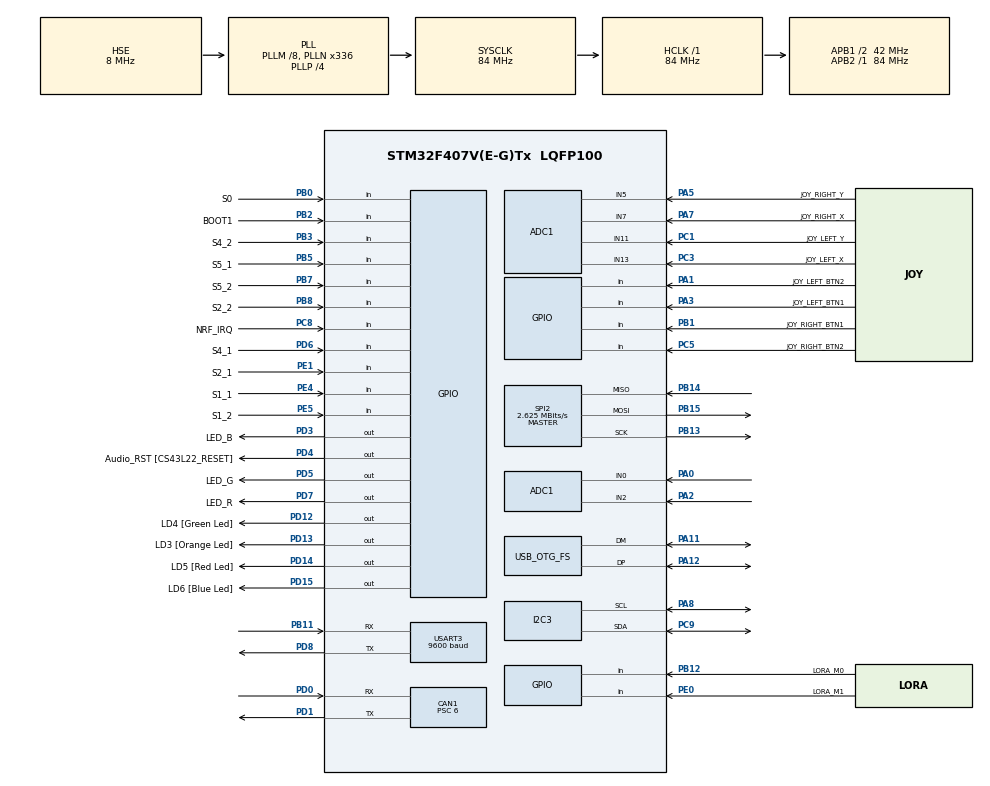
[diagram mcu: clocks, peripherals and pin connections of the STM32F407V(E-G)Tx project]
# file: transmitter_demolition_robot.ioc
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ADC1.Channel-0\#ChannelRegularConversion=ADC_CHANNEL_11
ADC1.Channel-1\#ChannelRegularConversion=ADC_CHANNEL_13
ADC1.Channel-2\#ChannelRegularConversion=ADC_CHANNEL_5
ADC1.Channel-3\#ChannelRegularConversion=ADC_CHANNEL_7
ADC1.Channel-4\#ChannelRegularConversion=ADC_CHANNEL_0
ADC1.Channel-5\#ChannelRegularConversion=ADC_CHANNEL_2
ADC1.ClockPrescaler=ADC_CLOCK_SYNC_PCLK_DIV4
ADC1.ContinuousConvMode=ENABLE
ADC1.DMAContinuousRequests=ENABLE
ADC1.DiscontinuousConvMode=DISABLE
ADC1.NbrOfConversion=6
ADC1.NbrOfConversionFlag=1
ADC1.Rank-0\#ChannelRegularConversion=1
ADC1.Rank-1\#ChannelRegularConversion=2
ADC1.Rank-2\#ChannelRegularConversion=3
ADC1.Rank-3\#ChannelRegularConversion=4
ADC1.Rank-4\#ChannelRegularConversion=5
ADC1.Rank-5\#ChannelRegularConversion=6
ADC1.SamplingTime-0\#ChannelRegularConversion=ADC_SAMPLETIME_84CYCLES
ADC1.SamplingTime-1\#ChannelRegularConversion=ADC_SAMPLETIME_84CYCLES
ADC1.SamplingTime-2\#ChannelRegularConversion=ADC_SAMPLETIME_84CYCLES
ADC1.SamplingTime-3\#ChannelRegularConversion=ADC_SAMPLETIME_84CYCLES
ADC1.SamplingTime-4\#ChannelRegularConversion=ADC_SAMPLETIME_84CYCLES
ADC1.SamplingTime-5\#ChannelRegularConversion=ADC_SAMPLETIME_84CYCLES
ADC1.ScanConvMode=ENABLE
ADC1.master=1
CAN1.BS1=CAN_BS1_11TQ
CAN1.BS2=CAN_BS2_2TQ
CAN1.CalculateBaudRate=500000
CAN1.CalculateTimeBit=2000
CAN1.CalculateTimeQuantum=142.85714285714286
CAN1.Prescaler=6
Dma.ADC1.0.Direction=DMA_PERIPH_TO_MEMORY
Dma.ADC1.0.FIFOMode=DMA_FIFOMODE_DISABLE
Dma.ADC1.0.Instance=DMA2_Stream0
Dma.ADC1.0.MemDataAlignment=DMA_MDATAALIGN_HALFWORD
Dma.ADC1.0.MemInc=DMA_MINC_ENABLE
Dma.ADC1.0.Mode=DMA_CIRCULAR
Dma.ADC1.0.PeriphDataAlignment=DMA_PDATAALIGN_HALFWORD
Dma.ADC1.0.PeriphInc=DMA_PINC_DISABLE
Dma.ADC1.0.Priority=DMA_PRIORITY_LOW
Dma.Request0=ADC1
I2C3.I2C_Mode=I2C_Fast
Mcu.Family=STM32F4
Mcu.Name=STM32F407V(E-G)Tx
Mcu.Package=LQFP100
NVIC.CAN1_RX0_IRQn=true\:0\:0\:false\:false\:true\:true\:true\:true
NVIC.CAN1_TX_IRQn=true\:0\:0\:false\:false\:true\:true\:true\:true
NVIC.DMA2_Stream0_IRQn=true\:0\:0\:false\:false\:true\:false\:true\:true
NVIC.OTG_FS_IRQn=true\:0\:0\:false\:false\:true\:false\:true\:true
NVIC.PriorityGroup=NVIC_PRIORITYGROUP_0
NVIC.USART3_IRQn=true\:0\:0\:false\:false\:true\:true\:true\:true
PA0-WKUP.Signal=ADCx_IN0
PA1.GPIO_Label=JOY_LEFT_BTN2
PA1.Signal=GPIO_Input
PA10.GPIO_Label=OTG_FS_ID
PA10.GPIO_Mode=GPIO_MODE_AF_PP
PA10.GPIO_PuPd=GPIO_NOPULL
PA10.GPIO_Speed=GPIO_SPEED_FREQ_LOW
PA10.Signal=USB_OTG_FS_ID
PA11.Mode=Device_Only
PA11.Signal=USB_OTG_FS_DM
PA12.Mode=Device_Only
PA12.Signal=USB_OTG_FS_DP
PA13.GPIO_Label=SWDIO
PA13.Signal=SYS_JTMS-SWDIO
PA14.GPIO_Label=SWCLK
PA14.Signal=SYS_JTCK-SWCLK
PA2.Signal=ADCx_IN2
PA3.GPIO_Label=JOY_LEFT_BTN1
PA3.Signal=GPIO_Input
PA4.GPIO_Label=I2S3_WS [CS43L22_LRCK]
PA4.GPIO_Mode=GPIO_MODE_AF_PP
PA4.GPIO_PuPd=GPIO_NOPULL
PA4.GPIO_Speed=GPIO_SPEED_FREQ_LOW
PA4.Signal=I2S3_WS
PA5.GPIO_Label=JOY_RIGHT_Y
PA5.Signal=ADCx_IN5
PA6.GPIO_Label=SPI1_MISO [LIS302DL_SDO]
PA6.GPIO_Mode=GPIO_MODE_AF_PP
PA6.GPIO_PuPd=GPIO_NOPULL
PA6.GPIO_Speed=GPIO_SPEED_FREQ_LOW
PA6.Signal=SPI1_MISO
PA7.GPIO_Label=JOY_RIGHT_X
PA7.Signal=ADCx_IN7
PA8.Mode=I2C
PA8.Signal=I2C3_SCL
PA9.GPIO_Label=VBUS_FS
PA9.GPIO_Mode=GPIO_MODE_INPUT
PA9.GPIO_PuPd=GPIO_NOPULL
PA9.Signal=USB_OTG_FS_VBUS
PB1.GPIO_Label=JOY_RIGHT_BTN1
PB1.Signal=GPIO_Input
PB10.GPIO_Label=CLK_IN [MP45DT02_CLK]
PB10.GPIO_Mode=GPIO_MODE_AF_PP
PB10.GPIO_PuPd=GPIO_NOPULL
PB10.GPIO_Speed=GPIO_SPEED_FREQ_LOW
PB10.Signal=I2S2_CK
PB11.Mode=Asynchronous
PB11.Signal=USART3_RX
PB12.GPIO_Label=LORA_M0
PB12.Signal=GPIO_Input
PB13.Mode=Full_Duplex_Master
PB13.Signal=SPI2_SCK
PB14.Mode=Full_Duplex_Master
PB14.Signal=SPI2_MISO
PB15.Mode=Full_Duplex_Master
PB15.Signal=SPI2_MOSI
PB2.GPIO_Label=BOOT1
PB2.GPIO_Mode=GPIO_MODE_INPUT
PB2.GPIO_PuPd=GPIO_NOPULL
PB2.Signal=GPIO_Input
PB3.GPIO_Label=S4_2
PB3.Signal=GPIO_Input
PB5.GPIO_Label=S5_1
PB5.Signal=GPIO_Input
PB6.GPIO_Label=Audio_SCL [CS43L22_SCL]
PB6.GPIO_Mode=GPIO_MODE_AF_OD
PB6.GPIO_PuPd=GPIO_NOPULL
PB6.GPIO_Speed=GPIO_SPEED_FREQ_LOW
PB6.Signal=I2C1_SCL
PB7.GPIO_Label=S5_2
PB7.Signal=GPIO_Input
PB8.GPIO_Label=S2_2
PB8.Signal=GPIO_Input
PB0.GPIO_Label=S0
PB0.Signal=GPIO_Input
PC1.GPIO_Label=JOY_LEFT_Y
PC1.Signal=ADCx_IN11
PC10.GPIO_Label=I2S3_SCK [CS43L22_SCLK]
PC10.GPIO_Mode=GPIO_MODE_AF_PP
PC10.GPIO_PuPd=GPIO_NOPULL
PC10.GPIO_Speed=GPIO_SPEED_FREQ_LOW
PC10.Signal=I2S3_CK
PC12.GPIO_Label=I2S3_SD [CS43L22_SDIN]
PC12.GPIO_Mode=GPIO_MODE_AF_PP
PC12.GPIO_PuPd=GPIO_NOPULL
PC12.GPIO_Speed=GPIO_SPEED_FREQ_LOW
PC12.Signal=I2S3_SD
PC14-OSC32_IN.GPIO_Label=PC14-OSC32_IN
PC14-OSC32_IN.Signal=RCC_OSC32_IN
PC15-OSC32_OUT.GPIO_Label=PC15-OSC32_OUT
PC15-OSC32_OUT.Signal=RCC_OSC32_OUT
PC3.GPIO_Label=JOY_LEFT_X
PC3.Signal=ADCx_IN13
PC5.GPIO_Label=JOY_RIGHT_BTN2
PC5.Signal=GPIO_Input
PC7.GPIO_Label=I2S3_MCK [CS43L22_MCLK]
PC7.GPIO_Mode=GPIO_MODE_AF_PP
PC7.GPIO_PuPd=GPIO_NOPULL
PC7.GPIO_Speed=GPIO_SPEED_FREQ_LOW
PC7.Signal=I2S3_MCK
PC8.GPIO_Label=NRF_IRQ
PC8.Signal=GPIO_Input
PC9.Mode=I2C
PC9.Signal=I2C3_SDA
PD0.Mode=CAN_Activate
PD0.Signal=CAN1_RX
PD1.Mode=CAN_Activate
PD1.Signal=CAN1_TX
PD12.GPIO_Label=LD4 [Green Led]
PD12.GPIO_PuPd=GPIO_NOPULL
PD12.GPIO_Speed=GPIO_SPEED_FREQ_LOW
PD12.Signal=GPIO_Output
PD13.GPIO_Label=LD3 [Orange Led]
PD13.GPIO_PuPd=GPIO_NOPULL
PD13.GPIO_Speed=GPIO_SPEED_FREQ_LOW
PD13.Signal=GPIO_Output
PD14.GPIO_Label=LD5 [Red Led]
PD14.GPIO_PuPd=GPIO_NOPULL
PD14.GPIO_Speed=GPIO_SPEED_FREQ_LOW
PD14.Signal=GPIO_Output
PD15.GPIO_Label=LD6 [Blue Led]
PD15.GPIO_PuPd=GPIO_NOPULL
PD15.GPIO_Speed=GPIO_SPEED_FREQ_LOW
PD15.Signal=GPIO_Output
PD3.GPIO_Label=LED_B
PD3.Signal=GPIO_Output
PD4.GPIO_Label=Audio_RST [CS43L22_RESET]
PD4.GPIO_PuPd=GPIO_NOPULL
PD4.GPIO_Speed=GPIO_SPEED_FREQ_LOW
PD4.Signal=GPIO_Output
PD5.GPIO_Label=LED_G
PD5.Signal=GPIO_Output
PD6.GPIO_Label=S4_1
PD6.Signal=GPIO_Input
PD7.GPIO_Label=LED_R
PD7.Signal=GPIO_Output
PD8.Mode=Asynchronous
PD8.Signal=USART3_TX
PE0.GPIO_Label=LORA_M1
PE0.Signal=GPIO_Input
PE1.GPIO_Label=S2_1
PE1.Signal=GPIO_Input
PE4.GPIO_Label=S1_1
PE4.Signal=GPIO_Input
PE5.GPIO_Label=S1_2
PE5.Signal=GPIO_Input
PH0-OSC_IN.GPIO_Label=PH0-OSC_IN
PH0-OSC_IN.Mode=HSE-External-Oscillator
PH0-OSC_IN.Signal=RCC_OSC_IN
PH1-OSC_OUT.GPIO_Label=PH1-OSC_OUT
PH1-OSC_OUT.Mode=HSE-External-Oscillator
PH1-OSC_OUT.Signal=RCC_OSC_OUT
ProjectManager.HeapSize=0x200
ProjectManager.StackSize=0x400
ProjectManager.TargetToolchain=STM32CubeIDE
RCC.48MHZClocksFreq_Value=48000000
RCC.AHBFreq_Value=84000000
RCC.APB1CLKDivider=RCC_HCLK_DIV2
RCC.APB1Freq_Value=42000000
RCC.APB1TimFreq_Value=84000000
RCC.APB2CLKDivider=RCC_HCLK_DIV1
RCC.APB2Freq_Value=84000000
RCC.APB2TimFreq_Value=84000000
RCC.CortexFreq_Value=84000000
RCC.HCLKFreq_Value=84000000
RCC.HSE_VALUE=8000000
RCC.HSI_VALUE=16000000
RCC.LSE_VALUE=32768
RCC.PLLM=8
RCC.PLLN=336
RCC.PLLP=RCC_PLLP_DIV4
RCC.PLLQ=7
RCC.SYSCLKFreq_VALUE=84000000
RCC.SYSCLKSource=RCC_SYSCLKSOURCE_PLLCLK
RCC.VCOOutputFreq_Value=336000000
SH.ADCx_IN0.0=ADC1_IN0,IN0
SH.ADCx_IN11.0=ADC1_IN11,IN11
SH.ADCx_IN13.0=ADC1_IN13,IN13
SH.ADCx_IN2.0=ADC1_IN2,IN2
SH.ADCx_IN5.0=ADC1_IN5,IN5
SH.ADCx_IN7.0=ADC1_IN7,IN7
SPI2.BaudRatePrescaler=SPI_BAUDRATEPRESCALER_16
SPI2.CalculateBaudRate=2.625 MBits/s
SPI2.Direction=SPI_DIRECTION_2LINES
SPI2.Mode=SPI_MODE_MASTER
SPI2.VirtualType=VM_MASTER
USART3.BaudRate=9600
USART3.VirtualMode=VM_ASYNC
USB_DEVICE.CLASS_NAME_FS=CDC
USB_DEVICE.VirtualMode-CDC_FS=Cdc
USB_DEVICE.VirtualModeFS=Cdc_FS
USB_OTG_FS.VirtualMode=Device_Only
VP_USB_DEVICE_VS_USB_DEVICE_CDC_FS.Mode=CDC_FS
board=STM32F407G-DISC1

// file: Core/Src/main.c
/* USER CODE BEGIN Header */
/**
  ******************************************************************************
  * @file           : main.c
  * @brief          : Main program body
  ******************************************************************************
  * @attention
  *
  * Copyright (c) 2026 STMicroelectronics.
  * All rights reserved.
  *
  * This software is licensed under terms that can be found in the LICENSE file
  * in the root directory of this software component.
  * If no LICENSE file comes with this software, it is provided AS-IS.
  *
  ******************************************************************************
  */
/* USER CODE END Header */
#include "main.h"
#include "adc.h"
#include "can.h"
#include "dma.h"
#include "i2c.h"
#include "spi.h"
#include "usart.h"
#include "usb_device.h"
#include "gpio.h"
#include "ctrl_can.h"

/* USER CODE BEGIN Includes */
// Custom modules
#include "var.h"
#include "joystick.h"
#include "switch.h"
#include "nrf24.h"
#include "oled.h"
#include "usb_device.h"
#include "usbd_cdc_if.h"
#include "debug.h"
#include <stdio.h>
#include <string.h>
/* USER CODE END Includes */

/* USER CODE BEGIN PV */
extern I2C_HandleTypeDef hi2c3;  // I2C3 for OLED (PA8=SCL, PC9=SDA)
/* USER CODE END PV */

void SystemClock_Config(void);
/* USER CODE BEGIN PFP */
void Debug_Print(const char* msg);
void Debug_Printf(const char* format, ...);
/* USER CODE END PFP */

/* USER CODE BEGIN 0 */
volatile uint8_t s0_emergency_flag = 0;  // Set by EXTI0 ISR when S0 = 0
volatile uint8_t clock_source_is_hsi = 0;  // 1 if HSE failed and HSI fallback is active

/* Independent watchdog lewat register langsung (modul HAL IWDG tidak aktif).
 * LSI/32 = ~1 kHz, jadi nilai reload kira-kira sama dengan timeout dalam ms.
 *
 * Transmitter yang hang memang berakhir aman lewat timeout 500 ms di control
 * board - TAPI hanya kalau hang-nya berhenti mengirim. Hang SETELAH paket bagus
 * terkirim dengan stik terdefleksi hanya tertangkap oleh timer robot, dan
 * operator tidak punya cara memulihkan remote selain cabut daya. Reset jauh
 * lebih baik: boot masuk SLEEP dengan motor_active = 0.
 *
 * ponytail: 800 ms disamakan dengan control board. Blocking terpanjang di loop
 * ini adalah blit OLED ~23 ms, jadi marginnya besar.
 */
#define IWDG_TIMEOUT_MS 800u

static void Failsafe_IWDG_Start(void)
{
    /* Bekukan IWDG saat core dihentikan debugger, kalau tidak tiap breakpoint
     * berakhir dengan watchdog reset. Tidak berefek di lapangan. */
    DBGMCU->APB1FZ |= DBGMCU_APB1_FZ_DBG_IWDG_STOP;

    IWDG->KR  = 0x5555u;                      /* buka akses PR/RLR */
    IWDG->PR  = 3u;                           /* LSI / 32 -> ~1 kHz */
    IWDG->RLR = (IWDG_TIMEOUT_MS > 4095u) ? 4095u : IWDG_TIMEOUT_MS;
    IWDG->KR  = 0xAAAAu;                      /* muat nilai reload */
    IWDG->KR  = 0xCCCCu;                      /* start watchdog    */
}

static inline void Failsafe_IWDG_Refresh(void)
{
    IWDG->KR = 0xAAAAu;
}
/* USER CODE END 0 */

int main(void)
{

  /* MCU Configuration--------------------------------------------------------*/

  /* Reset of all peripherals, Initializes the Flash interface and the Systick. */
  HAL_Init();

  /* Configure the system clock */
  SystemClock_Config();

  /* Initialize all configured peripherals */
  MX_GPIO_Init();
  MX_DMA_Init();
  MX_ADC1_Init();
  MX_CAN1_Init();
  MX_I2C3_Init();
  MX_SPI2_Init();
  MX_USART3_UART_Init();
  MX_USB_DEVICE_Init();
  /* USER CODE BEGIN 2 */

  // Re-configure switch pins with internal pull-down (survives CubeMX regeneration)
  MX_GPIO_ConfigureSwitchPullDown();

  // CAN filter + start. Harmless with no transceiver attached: without a
  // heartbeat the transmitter simply stays on the radio.
  CtrlCAN_Init();

  // Read initial S0 state (EXTI only triggers on edges, need initial state)
  if (HAL_GPIO_ReadPin(S0_GPIO_Port, S0_Pin) == GPIO_PIN_RESET)
  {
      s0_emergency_flag = 1;
  }

  // Wait for USB CDC to be ready
  HAL_Delay(2000);

  // Debug: Send startup message
  Debug_Printf("\r\n=== Transmitter Demolition Robot (NRF24 + Discovery) ===\r\n");
  HAL_Delay(10);
  if (clock_source_is_hsi)
  {
      Debug_Printf("System Clock: 84 MHz (HSI fallback - HSE failed)\r\n\r\n");
  }
  else
  {
      Debug_Printf("System Clock: 84 MHz (HSE), USB CDC Ready\r\n\r\n");
  }
  HAL_Delay(10);

  // Debug counter for periodic status output
  uint16_t debug_counter = 0;
  #define DEBUG_INTERVAL 200  // Print debug every 200 cycles (~1s at fast loop)

  // TX diagnostics`
  uint32_t tx_ok_count = 0;
  uint32_t tx_fail_count = 0;
  uint32_t tx_not_ready = 0;

  // SLEEP mode
  uint8_t sleep_mode_active = 1;  // Start in SLEEP mode for safety!
  uint8_t sleep_transition_steps = 0;
  uint8_t safety_check_passed = 0;
  uint8_t last_s1_1_state = 0;
  uint8_t s1_1_hold_counter = 0;
  uint8_t s1_2_hold_counter = 0;
  uint8_t calibration_done = 0;
  uint8_t s2_1_hold_counter = 0;
  uint8_t last_s0_state = 1;  // Track S0 state to detect S0 transitions (0→1)

  // Transport: 0 = NRF24 radio, 1 = wired CAN (cable plugged in)
  uint8_t can_mode = 0;
  uint32_t last_can_tx_ms = 0;

  // Waktu terakhir sebuah paket benar-benar terkirim (ACK diterima di mode
  // radio, mailbox menerima di mode CAN). Dipakai untuk menyelaraskan
  // tampilan dengan keadaan robot - lihat LINK_LOST_MS di bawah.
  uint32_t last_tx_ok_ms = HAL_GetTick();
  #define LINK_LOST_MS 1000u  // > COMM_TIMEOUT_MS (500) milik control board
  uint8_t link_was_up = 1;   // untuk mendeteksi TEPI link hidup -> mati

  #define SLEEP_TRANSITION_SPEED 10  // 10 steps transition
  // Hold counter dihitung per TICK WAKTU, bukan per iterasi loop.
  //
  // Dulu ketiganya dinaikkan sekali per iterasi while(1) dengan komentar
  // "~20 cycles = ~0.1 second". Loop ini free-running: periodenya berayun dari
  // beberapa mikrodetik (radio tidak ready, cabang TX tidak mengerjakan apa-apa)
  // sampai ~25 ms (saat OLED redraw, blit 1025 byte I2C blocking). Jadi 20
  // iterasi bisa selesai di bawah 1 ms - satu bounce kontak pada S2_1 langsung
  // meng-arm motor - atau makan 0,5 detik. Tidak pernah 0,1 detik.
  //
  // 20 langkah x 5 ms = 100 ms, sesuai maksud angka aslinya, dan sekarang
  // benar-benar 100 ms berapa pun kecepatan loop. Nilai 20 dipertahankan
  // karena OLED memakai counter ini sebagai progress bar.
  #define HOLD_TICK_MS 5u
  #define S1_1_HOLD_REQUIRED 20      // 20 x 5 ms = 100 ms hold (exit SLEEP)
  #define S1_2_HOLD_REQUIRED 20      // 20 x 5 ms = 100 ms hold (calibration)
  #define S2_1_HOLD_REQUIRED 20      // 20 x 5 ms = 100 ms hold (start MOTOR)

  uint32_t s1_1_hold_tick = 0;       // stempel waktu kenaikan terakhir
  uint32_t s1_2_hold_tick = 0;
  uint32_t s2_1_hold_tick = 0;

  // Motor starter variables
  uint8_t motor_active = 0;        // Motor starter state (0=OFF, 1=ON)

  // Safety tolerances for exiting SLEEP mode
  #define JOYSTICK_CENTER 127
  #define JOYSTICK_TOLERANCE 25   // ±5 points tolerance

  // Initialize NRF24 GPIO pins (PC6=CSN, PC7=CE) - Manual init since not in IOC
  GPIO_InitTypeDef GPIO_InitStruct = {0};
  GPIO_InitStruct.Pin = NRF_CSN_Pin | NRF_CE_Pin;
  GPIO_InitStruct.Mode = GPIO_MODE_OUTPUT_PP;
  GPIO_InitStruct.Pull = GPIO_NOPULL;
  GPIO_InitStruct.Speed = GPIO_SPEED_FREQ_VERY_HIGH;
  HAL_GPIO_Init(GPIOC, &GPIO_InitStruct);

  // Set initial states
  HAL_GPIO_WritePin(NRF_CSN_GPIO_Port, NRF_CSN_Pin, GPIO_PIN_SET);    // CSN HIGH (inactive)
  HAL_GPIO_WritePin(NRF_CE_GPIO_Port, NRF_CE_Pin, GPIO_PIN_RESET);    // CE LOW (inactive)

  // Initialize custom modules
  Var_Init();      // Initialize data structure dan sub-modules (joystick, switch)

  // Initialize NRF24L01+ module with CE=PC7, CSN=PC6
  NRF24_Init(&hspi2, NRF_CE_GPIO_Port, NRF_CE_Pin, NRF_CSN_GPIO_Port, NRF_CSN_Pin);

  // Configure NRF24 module
  if (NRF24_Configure())
  {
      // NRF24 configured successfully - LED green ON briefly
      HAL_GPIO_WritePin(LED_G_GPIO_Port, LED_G_Pin, GPIO_PIN_SET);
      Debug_Printf("NRF24: OK\r\n");
      HAL_Delay(200);
      HAL_GPIO_WritePin(LED_G_GPIO_Port, LED_G_Pin, GPIO_PIN_RESET);
  }
  else
  {
      // NRF24 configuration failed - LED red ON
      HAL_GPIO_WritePin(LED_R_GPIO_Port, LED_R_Pin, GPIO_PIN_SET);
      Debug_Printf("NRF24: FAIL (check wiring)\r\n");
  }
  HAL_Delay(10);

  HAL_Delay(50);

  // ========================================================================
  // WAIT FOR S0 = 1 BEFORE SYSTEM START (Emergency safety check)
  // ========================================================================
  Debug_Printf("Waiting for S0=1...\r\n");
  HAL_Delay(10);
  while (1)
  {
      Var_Update();  // Read switch states

      // Print raw S0 value for debugging
      Debug_Printf("RAW S0=%d\r\n", tx_data.switches.s0);
      HAL_Delay(10);

      if (tx_data.switches.s0 == 1)
      {
          // S0 is in NORMAL position - safe to start system!
          Debug_Printf("S0=1, System starting...\r\n");
          HAL_Delay(10);
          break;  // Exit wait loop
      }

      // S0 still in EMERGENCY position - keep waiting, blink red LED
      HAL_GPIO_TogglePin(LED_R_GPIO_Port, LED_R_Pin);
      HAL_Delay(500);
  }
  HAL_GPIO_WritePin(LED_R_GPIO_Port, LED_R_Pin, GPIO_PIN_RESET);

  // Initialize OLED Display (128x64 I2C3 on PA8/PC9)
  OLED_Init(&hi2c3);

  // Show splash screen
  OLED_ShowSplashScreen();

  Debug_Printf("Entering main loop...\r\n");
  HAL_Delay(10);

  /* Watchdog dinyalakan SETELAH semua init blocking (tunggu USB 2 detik,
   * splash OLED 2 detik, gerbang tunggu S0=1) selesai. */
  Failsafe_IWDG_Start();

  /* USER CODE END 2 */

  /* Infinite loop */
  while (1)
  {

    /* USER CODE BEGIN 3 */
    // Beri makan watchdog - harus tetap jadi hal pertama yang dikerjakan loop
    Failsafe_IWDG_Refresh();

    // Update semua data sensor
    Var_Update();

    // ========================================================================
    // DEBUG: Print RAW hardware values BEFORE any override (every DEBUG_INTERVAL)
    // ========================================================================
    if (++debug_counter >= DEBUG_INTERVAL)
    {
        debug_counter = 0;
        Debug_PrintTxData(&tx_data);  // Print RAW values here, before override
        Debug_Printf("  NRF: ST=0x%02X | OK=%lu FAIL=%lu NRDY=%lu | LQ=%u%%\r\n",
            NRF24_GetStatus(), tx_ok_count, tx_fail_count, tx_not_ready, NRF24_GetLinkQuality());
        // ADC=FROZEN berarti joystick sedang dinetralkan paksa, bukan operator
        // yang melepas stik. RST = berapa kali ADC+DMA harus dijalankan ulang.
        Debug_Printf("  ADC: %s | RST=%lu\r\n",
            Joystick_IsHealthy() ? "ok" : "FROZEN",
            (unsigned long)Joystick_GetDmaRestarts());
    }

    // ========================================================================
    // S0 EMERGENCY SWITCH - Controls emergency relay on robot
    // ========================================================================
    // Also update tx_data.switches.s0 from interrupt flag
    tx_data.switches.s0 = s0_emergency_flag ? 0 : 1;

    if (s0_emergency_flag)
    {
        // S0 = 0 - EMERGENCY MODE
        // First emergency after boot: just clear (avoid any text-render error
        // before OLED is fully exercised). Subsequent emergencies show text.
        // Re-draw periodically (every ~20 loops) so an I2C glitch self-recovers.
        // Redraw layar emergency, dibatasi WAKTU bukan jumlah iterasi. Counter
        // lama (>= 20 iterasi) di loop free-running berarti redraw tiap ~30 ms,
        // yaitu ~45% waktu dihabiskan di transfer I2C blocking justru saat
        // respons emergency paling dibutuhkan.
        static uint32_t emergency_redraw_ms = 0;
        if (last_s0_state != 0 || (HAL_GetTick() - emergency_redraw_ms) >= 250u)
        {
            emergency_redraw_ms = HAL_GetTick();
            OLED_Clear();
            // Selalu gambar teksnya. Versi lama melewati blok ini pada event
            // emergency PERTAMA setelah boot (emergency_first_event mulai dari
            // 1), jadi operator cuma melihat LAYAR KOSONG + LED merah persis
            // saat paling butuh konfirmasi. Alasan di komentar lama - menghindari
            // "text-render error sebelum OLED benar-benar dipakai" - menambal
            // bug yang tidak pernah ditemukan dengan layar keselamatan kosong.
            OLED_SetCursor(8, 16);
            OLED_WriteString("EMERGENCY", FONT_SIZE_NORMAL);
            OLED_SetCursor(32, 36);
            OLED_WriteString("STOP", FONT_SIZE_LARGE);
            OLED_Update();
        }

        // Override all controls to SAFE values for emergency
        tx_data.joystick.left_x  = 127;
        tx_data.joystick.left_y  = 127;
        tx_data.joystick.right_x = 127;
        tx_data.joystick.right_y = 127;

        // All switches to 0
        tx_data.switches.joy_left_btn1  = 0;
        tx_data.switches.joy_left_btn2  = 0;
        tx_data.switches.joy_right_btn1 = 0;
        tx_data.switches.joy_right_btn2 = 0;
        tx_data.switches.s1_1 = 0;
        tx_data.switches.s1_2 = 0;
        tx_data.switches.s2_1 = 0;
        tx_data.switches.s2_2 = 0;
        tx_data.switches.s4_1 = 0;
        tx_data.switches.s4_2 = 0;
        tx_data.switches.s5_1 = 0;
        tx_data.switches.s5_2 = 0;
        tx_data.switches.motor_active = 0;

        last_s0_state = 0;
        sleep_mode_active = 1;
        sleep_transition_steps = 0;
        safety_check_passed = 0;
        s1_1_hold_counter = 0;
        s1_2_hold_counter = 0;
        calibration_done = 0;
        s2_1_hold_counter = 0;
        motor_active = 0;

        // Red LED ON for emergency
        HAL_GPIO_WritePin(LED_R_GPIO_Port, LED_R_Pin, GPIO_PIN_SET);
    }
    else
    {
        // S0 = 1 - NORMAL MODE
        HAL_GPIO_WritePin(LED_R_GPIO_Port, LED_R_Pin, GPIO_PIN_RESET);

        if (last_s0_state == 0)
        {
            // JANGAN panggil OLED_ShowSplashScreen() di sini: fungsi itu
            // blocking 2000 ms (3x HAL_Delay di oled.c), jadi nol paket
            // terkirim selama 2 detik tepat saat operator baru lepas dari
            // emergency stop. Watchdog 500 ms di control board pasti fire dan
            // operator harus re-arm ulang tanpa sebab. Komentar lama di baris
            // ini justru berbunyi "No HAL_Delay here - blocking would freeze
            // emergency response", menyangkal baris di atasnya.
            // Tidak perlu flag redraw: sleep_mode_active = 1 di bawah berbeda
            // dari last_sleep_state, jadi blok refresh OLED sudah menggambar
            // ulang layar SLEEP di iterasi berikutnya.
            last_s0_state = 1;
            sleep_mode_active = 1;
            sleep_transition_steps = 0;
            safety_check_passed = 0;
            s1_1_hold_counter = 0;
            s1_2_hold_counter = 0;
            calibration_done = 0;
            s2_1_hold_counter = 0;
            motor_active = 0;
        }
    }

    // ========================================================================
    // SLEEP MODE - Safety Feature with Safety Interlock
    // ========================================================================
    if (sleep_mode_active)
    {
        uint8_t joystick_safe = 0;
        uint8_t switches_safe = 0;

        // Check joysticks are centered (127 ± 5)
        if ((tx_data.joystick.left_x  >= JOYSTICK_CENTER - JOYSTICK_TOLERANCE) &&
            (tx_data.joystick.left_x  <= JOYSTICK_CENTER + JOYSTICK_TOLERANCE) &&
            (tx_data.joystick.left_y  >= JOYSTICK_CENTER - JOYSTICK_TOLERANCE) &&
            (tx_data.joystick.left_y  <= JOYSTICK_CENTER + JOYSTICK_TOLERANCE) &&
            (tx_data.joystick.right_x >= JOYSTICK_CENTER - JOYSTICK_TOLERANCE) &&
            (tx_data.joystick.right_x <= JOYSTICK_CENTER + JOYSTICK_TOLERANCE) &&
            (tx_data.joystick.right_y >= JOYSTICK_CENTER - JOYSTICK_TOLERANCE) &&
            (tx_data.joystick.right_y <= JOYSTICK_CENTER + JOYSTICK_TOLERANCE))
        {
            joystick_safe = 1;
        }

        // Check all switches are 0 (except S0, S1_1 for exit SLEEP, S1_2 for calibration)
        if ((tx_data.switches.joy_left_btn1  == 0) &&
            (tx_data.switches.joy_left_btn2  == 0) &&
            (tx_data.switches.joy_right_btn1 == 0) &&
            (tx_data.switches.joy_right_btn2 == 0) &&
            (tx_data.switches.s2_1 == 0) &&
            (tx_data.switches.s2_2 == 0) &&
            (tx_data.switches.s4_1 == 0) &&
            (tx_data.switches.s4_2 == 0) &&
            (tx_data.switches.s5_1 == 0) &&
            (tx_data.switches.s5_2 == 0))
        {
            switches_safe = 1;
        }

        if (joystick_safe && switches_safe)
        {
            safety_check_passed = 1;

            // S1_2 = Joystick Calibration (in SLEEP mode only, hold to calibrate, once only)
            if (!calibration_done && tx_data.switches.s1_2 == 1)
            {
                if ((HAL_GetTick() - s1_2_hold_tick) >= HOLD_TICK_MS)
                {
                    s1_2_hold_tick = HAL_GetTick();
                    s1_2_hold_counter++;
                }
                if (s1_2_hold_counter >= S1_2_HOLD_REQUIRED)
                {
                    Joystick_Calibrate();
                    calibration_done = 1;
                    s1_2_hold_counter = 0;
                }
            }
            else if (!calibration_done)
            {
                s1_2_hold_counter = 0;
            }

            if (tx_data.switches.s1_1 == 1)
            {
                if ((HAL_GetTick() - s1_1_hold_tick) >= HOLD_TICK_MS)
                {
                    s1_1_hold_tick = HAL_GetTick();
                    s1_1_hold_counter++;
                }
                if (s1_1_hold_counter >= S1_1_HOLD_REQUIRED)
                {
                    sleep_mode_active = 0;
                    sleep_transition_steps = 0;
                    s1_1_hold_counter = 0;
                }
            }
            else
            {
                s1_1_hold_counter = 0;
            }
            last_s1_1_state = tx_data.switches.s1_1;
        }
        else
        {
            safety_check_passed = 0;
            last_s1_1_state = 0;
            s1_1_hold_counter = 0;
            s1_2_hold_counter = 0;

            // Override transmitted data to safe values during SLEEP
            tx_data.joystick.left_x  = 127;
            tx_data.joystick.left_y  = 127;
            tx_data.joystick.right_x = 127;
            tx_data.joystick.right_y = 127;

            tx_data.switches.joy_left_btn1  = 0;
            tx_data.switches.joy_left_btn2  = 0;
            tx_data.switches.joy_right_btn1 = 0;
            tx_data.switches.joy_right_btn2 = 0;
            tx_data.switches.s1_1 = 0;
            tx_data.switches.s1_2 = 0;
            tx_data.switches.s2_1 = 0;
            tx_data.switches.s2_2 = 0;
            tx_data.switches.s4_1 = 0;
            tx_data.switches.s4_2 = 0;
            tx_data.switches.s5_1 = 0;
            tx_data.switches.s5_2 = 0;
        }
    }
    else
    {
        safety_check_passed = 0;
        last_s1_1_state = tx_data.switches.s1_1;
    }

    // ========================================================================
    // MOTOR STARTER CONTROL - S2_1 HOLD - SELF-HOLDING
    // ========================================================================
    if (!sleep_mode_active)
    {
        // Link putus cukup lama: robot sudah mematikan motor sendiri lewat
        // watchdog 500 ms-nya dan menunggu S2_1 ditekan ulang. Tanpa ini
        // motor_active tetap 1 (self-holding), jadi OLED terus menampilkan
        // layar mode jalan sementara robotnya sudah berhenti - operator tidak
        // dapat petunjuk apa pun bahwa dia harus menekan ulang.
        //
        // Berbasis WAKTU, bukan hitungan paket: loop ini free-running, jadi
        // ambang berbasis jumlah paket hanya bernilai puluhan milidetik dan
        // kedipan RF sekejap sudah cukup untuk mematikan motor.
        //
        // Hanya pada TEPI hidup->mati, sekali. Versi sebelumnya menjalankan
        // ini terus-menerus selama link mati dan ikut menolkan
        // s2_1_hold_counter, sehingga counter bolak-balik 0->1 dan progress
        // hold mentok di 5% - motor tidak akan pernah bisa distart selama
        // link belum nyambung. Counter TIDAK boleh disentuh di sini: operator
        // harus tetap bisa menahan S2_1 walau link sedang mati.
        //
        // Ini murni penyelarasan tampilan. Otoritasnya tetap di control board
        // (Control_RequireMotorRestart), jadi kalau penilaian di sini sesekali
        // meleset tidak ada konsekuensi keselamatan.
        uint8_t link_up = ((HAL_GetTick() - last_tx_ok_ms) <= LINK_LOST_MS);
        if (!link_up && link_was_up)
        {
            motor_active = 0;
        }
        link_was_up = link_up;

        if (tx_data.switches.s2_1 == 1)
        {
            if ((HAL_GetTick() - s2_1_hold_tick) >= HOLD_TICK_MS)
            {
                s2_1_hold_tick = HAL_GetTick();
                s2_1_hold_counter++;
            }
            if (s2_1_hold_counter >= S2_1_HOLD_REQUIRED)
            {
                motor_active = 1;
            }
        }
        else
        {
            s2_1_hold_counter = 0;
        }
    }
    else
    {
        motor_active = 0;
        s2_1_hold_counter = 0;
    }

    // Update motor state in tx_data before transmission
    tx_data.switches.motor_active = motor_active;

    // Transport select: wired CAN when the cable is plugged in, radio otherwise.
    // The control board's heartbeat is what "plugged in" means - no switch, and
    // no guessing from error counters.
    CtrlCAN_Poll();

    if (CtrlCAN_IsLinkUp())
    {
        if (!can_mode)
        {
            // Powering the radio down is the point of the CAN path: it takes
            // the radio's transmit current out of the picture entirely. The
            // control board then stops sending ACK bursts too, because nothing
            // is arriving there - so its radio current drops as well.
            NRF24_PowerDown();
            can_mode = 1;
        }

        // Bukti link HIDUP di mode CAN adalah heartbeat 0x702 dari control
        // board, BUKAN "mailbox menerima frame".
        //
        // Dulu last_tx_ok_ms distempel saat CtrlCAN_Send() berhasil, padahal
        // itu cuma berarti frame masuk ke mailbox lokal - dan can.c menyetel
        // AutoRetransmission = DISABLE, jadi frame yang tidak di-ACK siapa pun
        // langsung dibuang diam-diam. Akibatnya link_up permanen true di mode
        // CAN dan tepi link-hidup->mati (yang menolkan motor_active) tidak
        // pernah bisa fire. CtrlCAN_IsLinkUp() sudah memeriksa heartbeat dalam
        // 300 ms terakhir, jadi ini bukti end-to-end yang sesungguhnya.
        last_tx_ok_ms = HAL_GetTick();

        // Throttle: the loop is free-running, and at 500 kbps an unthrottled
        // loop would saturate the bus. 20 ms = 50 Hz, faster than the 50 ms
        // TPDO rate the CANopen bridge uses.
        if ((HAL_GetTick() - last_can_tx_ms) >= CTRL_CAN_SEND_PERIOD_MS)
        {
            last_can_tx_ms = HAL_GetTick();

            if (CtrlCAN_Send(Var_GetBinaryData()))
            {
                tx_ok_count++;
                HAL_GPIO_WritePin(LED_G_GPIO_Port, LED_G_Pin, GPIO_PIN_SET);
            }
            else
            {
                tx_fail_count++;
                HAL_GPIO_WritePin(LED_B_GPIO_Port, LED_B_Pin, GPIO_PIN_SET);
            }
        }
    }
    else
    {
        if (can_mode)
        {
            // Cable unplugged - bring the radio back up.
            NRF24_Configure();
            can_mode = 0;
        }

        // Transmit via NRF24 using BINARY format (8 bytes)
        if (NRF24_IsReady())
        {
            if (NRF24_SendBinary(Var_GetBinaryData(), Var_GetDataSize()))
            {
                tx_ok_count++;
                last_tx_ok_ms = HAL_GetTick();
                // Transmission success - brief green LED blink
                HAL_GPIO_WritePin(LED_G_GPIO_Port, LED_G_Pin, GPIO_PIN_SET);
            }
            else
            {
                tx_fail_count++;
                // Transmission failed - blue LED
                HAL_GPIO_WritePin(LED_B_GPIO_Port, LED_B_Pin, GPIO_PIN_SET);
            }
        }
        else
        {
            tx_not_ready++;
        }
    }

    OLED_SetTransport(can_mode);

    // Update OLED display (every 10 cycles = ~500ms)
    if (tx_data.switches.s0 == 1)
    {
        static uint8_t oled_counter = 0;
        static uint8_t last_sleep_state = 0;
        static uint8_t last_safety_state = 0;
        static uint8_t last_hold_counter = 0;
        static uint8_t last_motor_state = 0;
        static uint8_t last_cal_state = 0;
        static uint8_t last_can_mode = 0;

        uint8_t current_hold_progress = sleep_mode_active ? s1_1_hold_counter : s2_1_hold_counter;

        if (sleep_mode_active != last_sleep_state ||
            safety_check_passed != last_safety_state ||
            current_hold_progress != last_hold_counter ||
            motor_active != last_motor_state ||
            s1_2_hold_counter != last_cal_state ||
            can_mode != last_can_mode ||
            ++oled_counter >= 10)
        {
            oled_counter = 0;
            last_sleep_state = sleep_mode_active;
            last_safety_state = safety_check_passed;
            last_hold_counter = current_hold_progress;
            last_motor_state = motor_active;
            last_cal_state = s1_2_hold_counter;
            last_can_mode = can_mode;
            uint8_t cal_progress = calibration_done ? 255 : s1_2_hold_counter;  // 255 = done

            // Link quality (0-100 from robot Auto-ACK): the raw rolling
            // average jumps on nearly every packet - unreadable. Instead of
            // latching it (which made the value JUMP every 2 s), glide the
            // displayed value toward the live measurement at max ~10 points
            // per second: changes appear as a smooth, easy-to-follow ramp.
            // The underlying measurement keeps running at full rate.
            static uint8_t  lq_shown = 0;
            static uint8_t  lq_init = 0;
            static uint32_t lq_last_ms = 0;
            uint32_t lq_now = HAL_GetTick();
            if (!lq_init)
            {
                lq_shown = NRF24_GetLinkQuality();  // first frame: show real value
                lq_init = 1;
                lq_last_ms = lq_now;
            }
            else
            {
                // Allowed movement = 1 point per 100 ms elapsed (10 points/s)
                uint32_t step = (lq_now - lq_last_ms) / 100u;
                if (step > 0u)
                {
                    if (step > 10u) step = 10u;
                    lq_last_ms = lq_now;

                    uint8_t target = NRF24_GetLinkQuality();
                    if (lq_shown + step < target)      lq_shown += (uint8_t)step;
                    else if (lq_shown > target + step) lq_shown -= (uint8_t)step;
                    else                               lq_shown = target;
                }
            }
            uint8_t link_quality = lq_shown;
            OLED_ShowModeScreen(tx_data.switches.s5_1, tx_data.switches.s5_2, (uint8_t*)&tx_data.joystick, sleep_mode_active, safety_check_passed, current_hold_progress, motor_active, cal_progress, link_quality);
            OLED_Update();
        }
    }

    // Turn off LEDs after brief indication
    HAL_GPIO_WritePin(LED_G_GPIO_Port, LED_G_Pin, GPIO_PIN_RESET);
    HAL_GPIO_WritePin(LED_B_GPIO_Port, LED_B_Pin, GPIO_PIN_RESET);

    // No delay — transmit as fast as possible
  }
  /* USER CODE END 3 */
}

void SystemClock_Config(void)
{
  RCC_OscInitTypeDef RCC_OscInitStruct = {0};
  RCC_ClkInitTypeDef RCC_ClkInitStruct = {0};
  HAL_StatusTypeDef status = HAL_ERROR;
  const uint8_t HSE_MAX_ATTEMPTS = 5;

  /** Configure the main internal regulator output voltage
  */
  __HAL_RCC_PWR_CLK_ENABLE();
  __HAL_PWR_VOLTAGESCALING_CONFIG(PWR_REGULATOR_VOLTAGE_SCALE1);

  /** Try HSE first (8 MHz crystal → PLL → 84 MHz SYSCLK, 48 MHz USB).
   *  HSE can fail to start when VDD ramps up slowly (e.g. external 5V supply).
   *  Retry up to HSE_MAX_ATTEMPTS times, cycling HSE off/on between attempts
   *  to let the crystal oscillator restart cleanly.
   */
  RCC_OscInitStruct.OscillatorType = RCC_OSCILLATORTYPE_HSE;
  RCC_OscInitStruct.HSEState = RCC_HSE_ON;
  RCC_OscInitStruct.PLL.PLLState = RCC_PLL_ON;
  RCC_OscInitStruct.PLL.PLLSource = RCC_PLLSOURCE_HSE;
  RCC_OscInitStruct.PLL.PLLM = 8;
  RCC_OscInitStruct.PLL.PLLN = 336;
  RCC_OscInitStruct.PLL.PLLP = RCC_PLLP_DIV4;
  RCC_OscInitStruct.PLL.PLLQ = 7;

  for (uint8_t attempt = 0; attempt < HSE_MAX_ATTEMPTS; attempt++)
  {
    status = HAL_RCC_OscConfig(&RCC_OscInitStruct);
    if (status == HAL_OK)
    {
      break;
    }
    __HAL_RCC_HSE_CONFIG(RCC_HSE_OFF);
    HAL_Delay(50);  // SysTick runs on HSI here, so HAL_Delay still works
  }

  /** Fallback to HSI (16 MHz) if HSE never started.
   *  PLL re-tuned so SYSCLK still = 84 MHz and USB still = 48 MHz:
   *    VCO_in = HSI/PLLM = 16/16 = 1 MHz (same as HSE/8)
   *  Note: HSI tolerance (~1%) does not meet USB-CDC spec (±0.25%);
   *  USB may be unreliable in this fallback mode, but SPI/NRF24/OLED work fine.
   */
  if (status != HAL_OK)
  {
    clock_source_is_hsi = 1;

    RCC_OscInitStruct.OscillatorType = RCC_OSCILLATORTYPE_HSI;
    RCC_OscInitStruct.HSEState = RCC_HSE_OFF;
    RCC_OscInitStruct.HSIState = RCC_HSI_ON;
    RCC_OscInitStruct.HSICalibrationValue = RCC_HSICALIBRATION_DEFAULT;
    RCC_OscInitStruct.PLL.PLLState = RCC_PLL_ON;
    RCC_OscInitStruct.PLL.PLLSource = RCC_PLLSOURCE_HSI;
    RCC_OscInitStruct.PLL.PLLM = 16;
    RCC_OscInitStruct.PLL.PLLN = 336;
    RCC_OscInitStruct.PLL.PLLP = RCC_PLLP_DIV4;
    RCC_OscInitStruct.PLL.PLLQ = 7;

    if (HAL_RCC_OscConfig(&RCC_OscInitStruct) != HAL_OK)
    {
      Error_Handler();
    }
  }

  /** Initializes the CPU, AHB and APB buses clocks
  */
  RCC_ClkInitStruct.ClockType = RCC_CLOCKTYPE_HCLK|RCC_CLOCKTYPE_SYSCLK
                              |RCC_CLOCKTYPE_PCLK1|RCC_CLOCKTYPE_PCLK2;
  RCC_ClkInitStruct.SYSCLKSource = RCC_SYSCLKSOURCE_PLLCLK;
  RCC_ClkInitStruct.AHBCLKDivider = RCC_SYSCLK_DIV1;
  RCC_ClkInitStruct.APB1CLKDivider = RCC_HCLK_DIV2;
  RCC_ClkInitStruct.APB2CLKDivider = RCC_HCLK_DIV1;

  if (HAL_RCC_ClockConfig(&RCC_ClkInitStruct, FLASH_LATENCY_2) != HAL_OK)
  {
    Error_Handler();
  }
}

/* USER CODE BEGIN 4 */
#include <stdarg.h>

/* USER CODE END 4 */

void Error_Handler(void)
{
  /* USER CODE BEGIN Error_Handler_Debug */
  /* User can add his own implementation to report the HAL error return state */

  /* Nyalakan watchdog di sini juga. Error_Handler bisa tercapai dari
   * MX_ADC1_Init / MX_SPI2_Init / MX_I2C3_Init / MX_CAN1_Init /
   * MX_USART3_UART_Init - semuanya SEBELUM watchdog dinyalakan di akhir init -
   * dan versi lama berakhir brick permanen tanpa indikasi apa pun, remote mati
   * total sampai dicabut dayanya. Sekarang board reset dan boot ulang ke SLEEP.
   * Aman dipanggil dua kali: IWDG sekali start tidak bisa dimatikan. */
  Failsafe_IWDG_Start();

  __disable_irq();
  while (1)
  {
    /* IRQ mati, jadi IWDG tidak akan di-refresh: reset dalam IWDG_TIMEOUT_MS.
     * Kalau penyebabnya permanen, remote jadi reset berulang - gejala yang
     * terlihat operator, bukan mati diam. */
  }
  /* USER CODE END Error_Handler_Debug */
}
